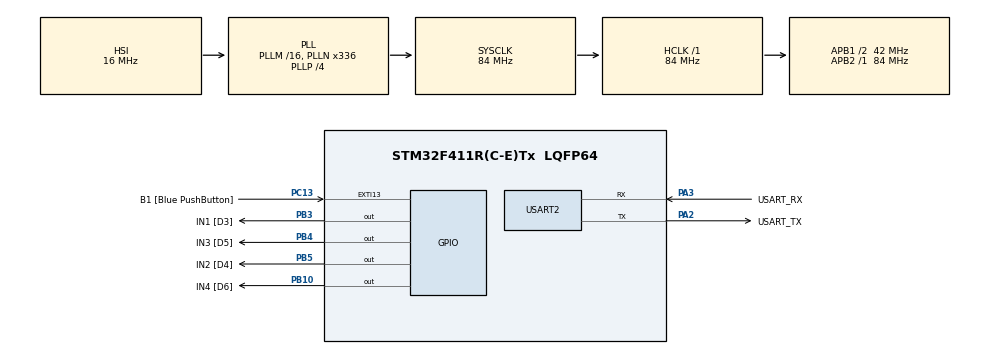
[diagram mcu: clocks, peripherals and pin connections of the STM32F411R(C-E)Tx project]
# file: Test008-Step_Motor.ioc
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Mcu.Family=STM32F4
Mcu.Name=STM32F411R(C-E)Tx
Mcu.Package=LQFP64
NVIC.PriorityGroup=NVIC_PRIORITYGROUP_0
PA13.GPIO_Label=TMS
PA13.Mode=Serial_Wire
PA13.Signal=SYS_JTMS-SWDIO
PA14.GPIO_Label=TCK
PA14.Mode=Serial_Wire
PA14.Signal=SYS_JTCK-SWCLK
PA2.GPIO_Label=USART_TX
PA2.Mode=Asynchronous
PA2.Signal=USART2_TX
PA3.GPIO_Label=USART_RX
PA3.Mode=Asynchronous
PA3.Signal=USART2_RX
PB10.GPIO_Label=IN4 [D6]
PB10.Signal=GPIO_Output
PB3.GPIO_Label=IN1 [D3]
PB3.Signal=GPIO_Output
PB4.GPIO_Label=IN3 [D5]
PB4.Signal=GPIO_Output
PB5.GPIO_Label=IN2 [D4]
PB5.Signal=GPIO_Output
PC13-ANTI_TAMP.GPIO_Label=B1 [Blue PushButton]
PC13-ANTI_TAMP.GPIO_ModeDefaultEXTI=GPIO_MODE_IT_FALLING
PC13-ANTI_TAMP.Signal=GPXTI13
PC14-OSC32_IN.Mode=LSE-External-Oscillator
PC14-OSC32_IN.Signal=RCC_OSC32_IN
PC15-OSC32_OUT.Mode=LSE-External-Oscillator
PC15-OSC32_OUT.Signal=RCC_OSC32_OUT
PH0\ -\ OSC_IN.Mode=HSE-External-Clock-Source
PH0\ -\ OSC_IN.Signal=RCC_OSC_IN
PH1\ -\ OSC_OUT.Mode=HSE-External-Clock-Source
PH1\ -\ OSC_OUT.Signal=RCC_OSC_OUT
ProjectManager.HeapSize=0x200
ProjectManager.StackSize=0x400
ProjectManager.TargetToolchain=STM32CubeIDE
RCC.48MHZClocksFreq_Value=84000000
RCC.AHBFreq_Value=84000000
RCC.APB1CLKDivider=RCC_HCLK_DIV2
RCC.APB1Freq_Value=42000000
RCC.APB1TimFreq_Value=84000000
RCC.APB2Freq_Value=84000000
RCC.APB2TimFreq_Value=84000000
RCC.CortexFreq_Value=84000000
RCC.FLatency-AdvancedSettings=FLASH_LATENCY_2
RCC.HCLKFreq_Value=84000000
RCC.HSE_VALUE=8000000
RCC.HSI_VALUE=16000000
RCC.PLLN=336
RCC.PLLP=RCC_PLLP_DIV4
RCC.SYSCLKFreq_VALUE=84000000
RCC.SYSCLKSource=RCC_SYSCLKSOURCE_PLLCLK
RCC.VCOOutputFreq_Value=336000000
USART2.VirtualMode=VM_ASYNC
board=NUCLEO-F411RE

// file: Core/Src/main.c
/* USER CODE BEGIN Header */
/**
  ******************************************************************************
  * @file           : main.c
  * @brief          : Main program body
  ******************************************************************************
  * @attention
  *
  * Copyright (c) 2025 STMicroelectronics.
  * All rights reserved.
  *
  * This software is licensed under terms that can be found in the LICENSE file
  * in the root directory of this software component.
  * If no LICENSE file comes with this software, it is provided AS-IS.
  *
  ******************************************************************************
  */
/* USER CODE END Header */
#include "main.h"

/* USER CODE BEGIN Includes */
#include <stdio.h>
/* USER CODE END Includes */

UART_HandleTypeDef huart2;

void SystemClock_Config(void);
static void MX_GPIO_Init(void);
static void MX_USART2_UART_Init(void);

int main(void)
{

  /* MCU Configuration--------------------------------------------------------*/

  /* Reset of all peripherals, Initializes the Flash interface and the Systick. */
  HAL_Init();

  /* Configure the system clock */
  SystemClock_Config();

  /* Initialize all configured peripherals */
  MX_GPIO_Init();
  MX_USART2_UART_Init();
  /* USER CODE BEGIN 2 */
  ProgramStart("Step Motor Control");

  /* USER CODE END 2 */

  /* Infinite loop */
  /* USER CODE BEGIN WHILE */
  int i, count;
  int Angle;
  while (1)
  {
	  printf("Enter the desired Rotation Angle : ");
	  scanf("%d", &Angle);

	  count = (512 / 360) * Angle;

	  for (i = 0; i < count; i++)
	  {
		  // *** Wave Mode *** //
		  // At each time, only one Output High
		  // 1st Step
		  HAL_GPIO_WritePin(IN1_GPIO_Port, IN1_Pin, 1); // D3
		  HAL_GPIO_WritePin(IN2_GPIO_Port, IN2_Pin, 0); // D4
		  HAL_GPIO_WritePin(IN3_GPIO_Port, IN3_Pin, 0); // D5
		  HAL_GPIO_WritePin(IN4_GPIO_Port, IN4_Pin, 0); // D6
		  HAL_Delay(10);

		  // 2nd Step
		  HAL_GPIO_WritePin(IN1_GPIO_Port, IN1_Pin, 0); // D3
		  HAL_GPIO_WritePin(IN2_GPIO_Port, IN2_Pin, 1); // D4
		  HAL_GPIO_WritePin(IN3_GPIO_Port, IN3_Pin, 0); // D5
		  HAL_GPIO_WritePin(IN4_GPIO_Port, IN4_Pin, 0); // D6
		  HAL_Delay(10);

		  // 3rd Step
		  HAL_GPIO_WritePin(IN1_GPIO_Port, IN1_Pin, 0); // D3
		  HAL_GPIO_WritePin(IN2_GPIO_Port, IN2_Pin, 0); // D4
		  HAL_GPIO_WritePin(IN3_GPIO_Port, IN3_Pin, 1); // D5
		  HAL_GPIO_WritePin(IN4_GPIO_Port, IN4_Pin, 0); // D6
		  HAL_Delay(10);

		  // 4th Step
		  HAL_GPIO_WritePin(IN1_GPIO_Port, IN1_Pin, 0); // D3
		  HAL_GPIO_WritePin(IN2_GPIO_Port, IN2_Pin, 0); // D4
		  HAL_GPIO_WritePin(IN3_GPIO_Port, IN3_Pin, 0); // D5
		  HAL_GPIO_WritePin(IN4_GPIO_Port, IN4_Pin, 1); // D6
		  HAL_Delay(10);
		  // *** Wave Mode *** //
	  }

    /* USER CODE END WHILE */

  }
}

void SystemClock_Config(void)
{
  RCC_OscInitTypeDef RCC_OscInitStruct = {0};
  RCC_ClkInitTypeDef RCC_ClkInitStruct = {0};

  /** Configure the main internal regulator output voltage
  */
  __HAL_RCC_PWR_CLK_ENABLE();
  __HAL_PWR_VOLTAGESCALING_CONFIG(PWR_REGULATOR_VOLTAGE_SCALE1);

  /** Initializes the RCC Oscillators according to the specified parameters
  * in the RCC_OscInitTypeDef structure.
  */
  RCC_OscInitStruct.OscillatorType = RCC_OSCILLATORTYPE_HSI;
  RCC_OscInitStruct.HSIState = RCC_HSI_ON;
  RCC_OscInitStruct.HSICalibrationValue = RCC_HSICALIBRATION_DEFAULT;
  RCC_OscInitStruct.PLL.PLLState = RCC_PLL_ON;
  RCC_OscInitStruct.PLL.PLLSource = RCC_PLLSOURCE_HSI;
  RCC_OscInitStruct.PLL.PLLM = 16;
  RCC_OscInitStruct.PLL.PLLN = 336;
  RCC_OscInitStruct.PLL.PLLP = RCC_PLLP_DIV4;
  RCC_OscInitStruct.PLL.PLLQ = 4;
  if (HAL_RCC_OscConfig(&RCC_OscInitStruct) != HAL_OK)
  {
    Error_Handler();
  }

  /** Initializes the CPU, AHB and APB buses clocks
  */
  RCC_ClkInitStruct.ClockType = RCC_CLOCKTYPE_HCLK|RCC_CLOCKTYPE_SYSCLK
                              |RCC_CLOCKTYPE_PCLK1|RCC_CLOCKTYPE_PCLK2;
  RCC_ClkInitStruct.SYSCLKSource = RCC_SYSCLKSOURCE_PLLCLK;
  RCC_ClkInitStruct.AHBCLKDivider = RCC_SYSCLK_DIV1;
  RCC_ClkInitStruct.APB1CLKDivider = RCC_HCLK_DIV2;
  RCC_ClkInitStruct.APB2CLKDivider = RCC_HCLK_DIV1;

  if (HAL_RCC_ClockConfig(&RCC_ClkInitStruct, FLASH_LATENCY_2) != HAL_OK)
  {
    Error_Handler();
  }
}

static void MX_USART2_UART_Init(void)
{

  huart2.Instance = USART2;
  huart2.Init.BaudRate = 115200;
  huart2.Init.WordLength = UART_WORDLENGTH_8B;
  huart2.Init.StopBits = UART_STOPBITS_1;
  huart2.Init.Parity = UART_PARITY_NONE;
  huart2.Init.Mode = UART_MODE_TX_RX;
  huart2.Init.HwFlowCtl = UART_HWCONTROL_NONE;
  huart2.Init.OverSampling = UART_OVERSAMPLING_16;
  if (HAL_UART_Init(&huart2) != HAL_OK)
  {
    Error_Handler();
  }

}

static void MX_GPIO_Init(void)
{
  GPIO_InitTypeDef GPIO_InitStruct = {0};

  /* GPIO Ports Clock Enable */
  __HAL_RCC_GPIOC_CLK_ENABLE();
  __HAL_RCC_GPIOH_CLK_ENABLE();
  __HAL_RCC_GPIOA_CLK_ENABLE();
  __HAL_RCC_GPIOB_CLK_ENABLE();

  /*Configure GPIO pin Output Level */
  HAL_GPIO_WritePin(GPIOB, IN4_Pin|IN1_Pin|IN3_Pin|IN2_Pin, GPIO_PIN_RESET);

  /*Configure GPIO pin : B1_Pin */
  GPIO_InitStruct.Pin = B1_Pin;
  GPIO_InitStruct.Mode = GPIO_MODE_IT_FALLING;
  GPIO_InitStruct.Pull = GPIO_NOPULL;
  HAL_GPIO_Init(B1_GPIO_Port, &GPIO_InitStruct);

  /*Configure GPIO pins : IN4_Pin IN1_Pin IN3_Pin IN2_Pin */
  GPIO_InitStruct.Pin = IN4_Pin|IN1_Pin|IN3_Pin|IN2_Pin;
  GPIO_InitStruct.Mode = GPIO_MODE_OUTPUT_PP;
  GPIO_InitStruct.Pull = GPIO_NOPULL;
  GPIO_InitStruct.Speed = GPIO_SPEED_FREQ_LOW;
  HAL_GPIO_Init(GPIOB, &GPIO_InitStruct);

}

void Error_Handler(void)
{
  __disable_irq();
  while (1)
  {
  }
}
